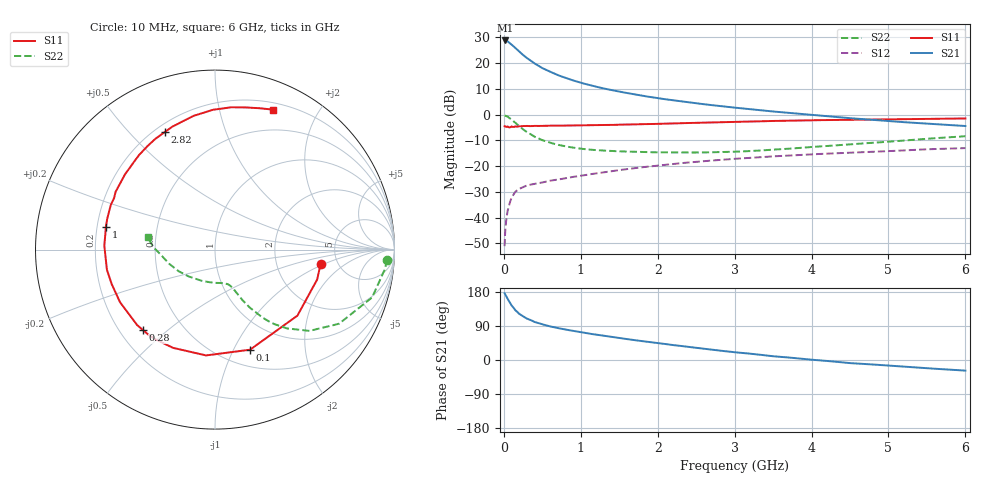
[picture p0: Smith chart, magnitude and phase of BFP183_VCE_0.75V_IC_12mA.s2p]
! Infineon Technologies  Discrete & RF Semiconductors
! BFP183
! VCE = 0.75V,  IC =  12 mA
! Common Emitter S-Parameters:  Jan 2016
# GHz  S  MA  R  50
!  f  S11  S21  S12  S22
! GHz  MAG  ANG  MAG  ANG  MAG  ANG  MAG  ANG
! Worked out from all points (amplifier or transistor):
!   210 points, 10 MHz to 6 GHz, reference 50 ohm
!   highest |S21| = 28.8 dB at 20 MHz (marker M1)
!   |S21| within 3 dB of that: start of sweep to 153.2 MHz
!   unconditionally stable (mu >= 1): 848.7 MHz to end of sweep
!   at 185 MHz: K = 0.33, MSG = 27.0 dB, |S12| = -29.1 dB
!   at 1.52 GHz: K = 1.22, MAG = 12.3 dB, |S12| = -21.5 dB
!   at 6 GHz: K = 1.06, MAG = 2.8 dB, |S12| = -13.0 dB
!   S11 on the Smith chart (normalised r, x): 10 MHz: 3.68, -0.92; 100 MHz: 0.68, -1.16; 280 MHz: 0.29, -0.41; 1 GHz: 0.24, +0.10; 2.82 GHz: 0.24, +0.63; 6 GHz: 0.27, +1.46
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0.01  0.5938 -7.8  27.54 176.2  0.0028 85.1  0.9618 -3.4
0.02  0.5931 -16.3  27.56 172.4  0.006 78.7  0.9511 -6.9
0.05  0.5884 -38.7  26.51 160.4  0.0137 75.8  0.9151 -16.9
0.1  0.5909 -70.7  23.07 144.1  0.0244 60.7  0.8056 -30.8
0.15  0.5917 -94.8  19.71 131.2  0.032 52.5  0.6944 -40.7
0.2  0.5952 -113.1  16.8 121.8  0.0362 46.4  0.5949 -47.6
0.24  0.5996 -123.2  14.85 116.3  0.0386 43.8  0.5334 -51.3
0.28  0.6017 -131.8  13.27 111.6  0.041 42.2  0.4822 -54.0
0.3  0.6042 -135.9  12.55 109.2  0.0422 41.5  0.4583 -55.2
0.4  0.605 -151.0  9.846 100.3  0.0455 39.5  0.3732 -59.2
0.5  0.6068 -161.6  8.012 94.0  0.0482 38.1  0.3198 -61.5
0.6  0.6126 -169.4  6.831 88.7  0.0522 39.2  0.2851 -62.8
0.7  0.6109 -176.2  5.851 84.3  0.0549 40.0  0.2602 -63.8
1  0.6212 168.1  4.157 73.2  0.0647 42.1  0.2182 -67.1
1.02  0.6216 167.3  4.085 72.6  0.0655 42.2  0.2166 -67.4
1.5  0.6406 149.8  2.798 57.9  0.0837 43.1  0.194 -75.0
2.02  0.6639 133.5  2.067 44.1  0.1038 41.6  0.186 -87.2
2.82  0.7122 113.1  1.464 24.4  0.1326 36.2  0.1885 -112.1
3.1  0.7293 107.0  1.322 18.7  0.142 34.0  0.1933 -121.5
4.1  0.782 89.3  0.961 -0.8  0.1724 25.7  0.2407 -152.2
5.1  0.8135 76.5  0.731 -16.1  0.1989 18.3  0.3063 -175.3
6  0.8437 67.6  0.602 -28.0  0.2243 10.1  0.3811 169.8
